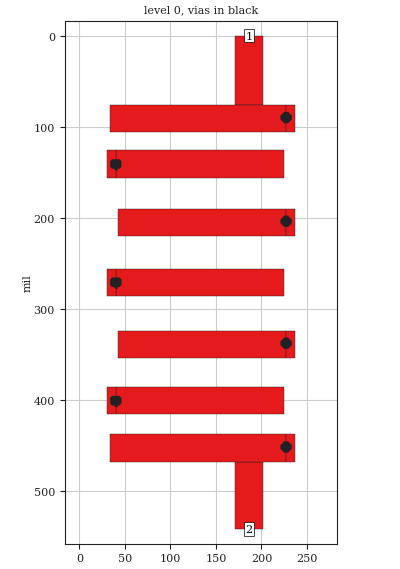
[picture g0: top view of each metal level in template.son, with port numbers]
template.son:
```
FTYP SONPROJ 10 ! Sonnet Project File
VER 13.01
HEADER
LIC sonnet9.aa.99999
DAT 11/28/2011 16:17:37
BUILT_BY_CREATED xgeom 11.54 07/14/2009 11:44:15
BUILT_BY_SAVED Sonnet Matlab Interface v6.0
MDATE 01/21/2011 09:52:37
HDATE 01/21/2011 09:51:36
END HEADER
DIM
FREQ GHZ
IND NH
LNG MIL
ANG DEG
CON /OH
CAP PF
RES OH
END DIM
FREQ
STEP 9.5
END FREQ
CONTROL
STD
OPTIONS -djm
SPEED 1
CACHE_ABS 1
TARG_ABS 300
Q_ACC N
END CONTROL
GEO
TMET "Copper" 2 NOR 58000000 0 1.42
BMET "Copper" 2 NOR 58000000 0 1.42
MET "Gold" 1 NOR 40900000 0 0.71 
MET "Copper" 2 NOR 58000000 0 1.42 
MET "Copper" 2 VOL 58000000 1.42 
BRI "Brick1" 1 1 0 0
BOX 1 267 542 268 542 20 0
      200 1 1 0 0 0 0 "Unnamed" 
      10 2.2 1 0.0009 0 0 0 "Rogers RT5880" 
LORGN 0 542 U
POR1 STD
POLY 13 1
0
1 50 0 0 0 186.30223885 0
POR1 STD
POLY 19 1
0
2 50 0 0 0 186.30223885 542
NUM 23
0 5 1 N 13 1 1 100 100 0 0 0 Y
171.358209 0
201.2462687 0
201.2462687 76
171.358209 76
171.358209 0
END
0 5 1 N 15 1 1 100 100 0 0 0 Y
33.87313433 106
227.1492537 106
227.1492537 76
33.87313433 76
33.87313433 106
END
0 5 1 N 16 1 1 100 100 0 0 0 Y
39.85074627 156
225.1567164 156
225.1567164 126
39.85074627 126
39.85074627 156
END
0 5 1 N 17 1 1 100 100 0 0 0 Y
41.84328358 220
227.1492537 220
227.1492537 190
41.84328358 190
41.84328358 220
END
0 5 1 N 18 1 1 100 100 0 0 0 Y
39.85074627 286
225.1567164 286
225.1567164 256
39.85074627 256
39.85074627 286
END
0 5 1 N 19 1 1 100 100 0 0 0 Y
171.358209 542
201.2462687 542
201.2462687 468
171.358209 468
171.358209 542
END
0 5 1 N 21 1 1 100 100 0 0 0 Y
33.87313433 438
227.1492537 438
227.1492537 468
33.87313433 468
33.87313433 438
END
0 5 1 N 22 1 1 100 100 0 0 0 Y
39.85074627 386
225.1567164 386
225.1567164 416
39.85074627 416
39.85074627 386
END
0 5 1 N 23 1 1 100 100 0 0 0 Y
41.84328358 324
227.1492537 324
227.1492537 354
41.84328358 354
41.84328358 324
END
VIA POLYGON
0 21 2 N 24 1 1 100 100 0 0 0 Y
TOLEVEL 1 RING NOCOVERS
233.1268657 90
233.1268657 92
231.1343284 94
229.141791 96
227.1492537 96
225.1567164 96
225.1567164 96
223.1641791 94
221.1716418 92
221.1716418 90
221.1716418 90
221.1716418 88
223.1641791 86
225.1567164 84
225.1567164 84
227.1492537 84
229.141791 84
231.1343284 86
233.1268657 88
233.1268657 90
233.1268657 90
END
0 5 1 N 25 1 1 100 100 0 0 0 Y
227.1492537 76
237.1119403 76
237.1119403 106
227.1492537 106
227.1492537 76
END
VIA POLYGON
0 21 2 N 26 1 1 100 100 0 0 0 Y
TOLEVEL 1 RING NOCOVERS
233.1268657 204
233.1268657 206
231.1343284 208
229.141791 210
227.1492537 210
225.1567164 210
225.1567164 210
223.1641791 208
221.1716418 206
221.1716418 204
221.1716418 204
221.1716418 202
223.1641791 200
225.1567164 198
225.1567164 198
227.1492537 198
229.141791 198
231.1343284 200
233.1268657 202
233.1268657 204
233.1268657 204
END
0 5 1 N 27 1 1 100 100 0 0 0 Y
227.1492537 190
237.1119403 190
237.1119403 220
227.1492537 220
227.1492537 190
END
VIA POLYGON
0 21 2 N 28 1 1 100 100 0 0 0 Y
TOLEVEL 1 RING NOCOVERS
233.1268657 338
233.1268657 340
231.1343284 342
229.141791 344
227.1492537 344
225.1567164 344
225.1567164 344
223.1641791 342
221.1716418 340
221.1716418 338
221.1716418 338
221.1716418 336
223.1641791 334
225.1567164 332
225.1567164 332
227.1492537 332
229.141791 332
231.1343284 334
233.1268657 336
233.1268657 338
233.1268657 338
END
0 5 1 N 29 1 1 100 100 0 0 0 Y
227.1492537 324
237.1119403 324
237.1119403 354
227.1492537 354
227.1492537 324
END
VIA POLYGON
0 21 2 N 30 1 1 100 100 0 0 0 Y
TOLEVEL 1 RING NOCOVERS
233.1268657 452
233.1268657 454
231.1343284 456
229.141791 458
227.1492537 458
225.1567164 458
225.1567164 458
223.1641791 456
221.1716418 454
221.1716418 452
221.1716418 452
221.1716418 450
223.1641791 448
225.1567164 446
225.1567164 446
227.1492537 446
229.141791 446
231.1343284 448
233.1268657 450
233.1268657 452
233.1268657 452
END
0 5 1 N 31 1 1 100 100 0 0 0 Y
227.1492537 438
237.1119403 438
237.1119403 468
227.1492537 468
227.1492537 438
END
VIA POLYGON
0 21 2 N 32 1 1 100 100 0 0 0 Y
TOLEVEL 1 RING NOCOVERS
33.87313433 402
33.87313433 404
35.86567164 406
37.85820896 406
39.85074627 408
41.84328358 408
41.84328358 406
43.8358209 406
45.82835821 404
45.82835821 402
45.82835821 400
45.82835821 398
43.8358209 396
41.84328358 396
41.84328358 396
39.85074627 396
37.85820896 396
35.86567164 396
33.87313433 398
33.87313433 400
33.87313433 402
END
0 5 1 N 33 1 1 100 100 0 0 0 Y
39.85074627 256
29.8880597 256
29.8880597 286
39.85074627 286
39.85074627 256
END
VIA POLYGON
0 21 2 N 34 1 1 100 100 0 0 0 Y
TOLEVEL 1 RING NOCOVERS
33.87313433 272
33.87313433 274
35.86567164 276
37.85820896 276
39.85074627 278
41.84328358 278
41.84328358 276
43.8358209 276
45.82835821 274
45.82835821 272
45.82835821 270
45.82835821 268
43.8358209 266
41.84328358 266
41.84328358 266
39.85074627 266
37.85820896 266
35.86567164 266
33.87313433 268
33.87313433 270
33.87313433 272
END
0 5 1 N 35 1 1 100 100 0 0 0 Y
39.85074627 126
29.8880597 126
29.8880597 156
39.85074627 156
39.85074627 126
END
VIA POLYGON
0 21 2 N 36 1 1 100 100 0 0 0 Y
TOLEVEL 1 RING NOCOVERS
33.87313433 142
33.87313433 144
35.86567164 146
37.85820896 146
39.85074627 148
41.84328358 148
41.84328358 146
43.8358209 146
45.82835821 144
45.82835821 142
45.82835821 140
45.82835821 138
43.8358209 136
41.84328358 136
41.84328358 136
39.85074627 136
37.85820896 136
35.86567164 136
33.87313433 138
33.87313433 140
33.87313433 142
END
0 5 1 N 37 1 1 100 100 0 0 0 Y
39.85074627 386
29.8880597 386
29.8880597 416
39.85074627 416
39.85074627 386
END
END GEO
OPT
MAX 100
VARS
END
END OPT
VARSWP
END VARSWP
FILEOUT
FOLDER ..\$BASENAME
END FILEOUT
QSG
IMPORT NO
EXTRA_METAL NO
UNITS YES
ALIGN NO
REF NO
VIEW_RES NO
METALS YES
USED YES
END QSG
```
